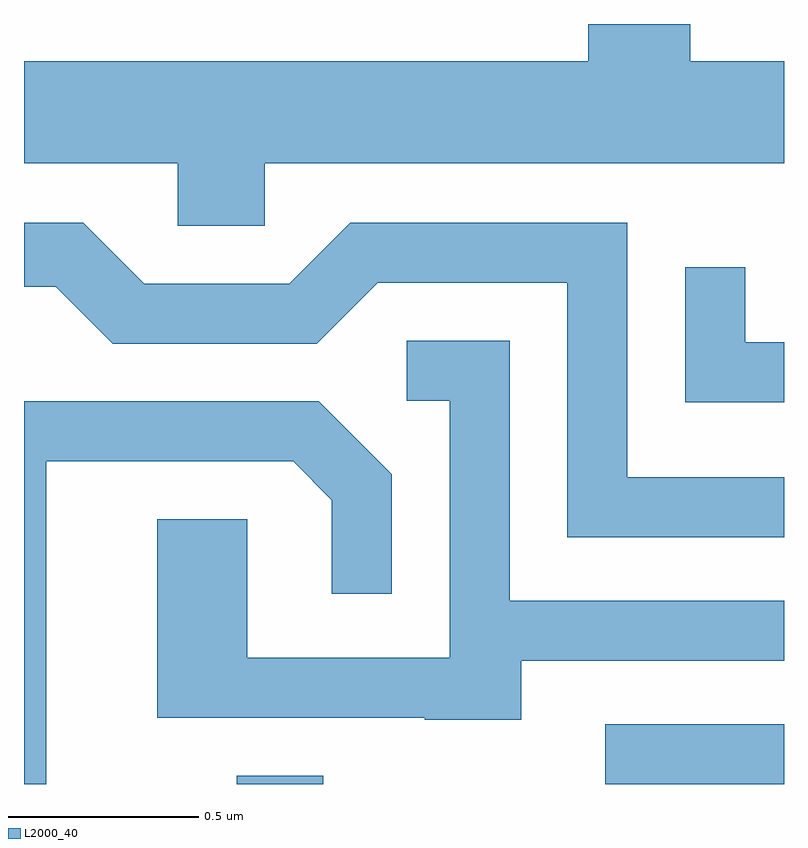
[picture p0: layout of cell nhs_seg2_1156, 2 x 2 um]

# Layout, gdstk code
import gdstk
lib = gdstk.Library(unit=1e-6, precision=1e-09)
def R(c, l, rs):  # rectangles x0, y0, x1, y1
    for r in rs: c.add(gdstk.rectangle(r[:2], r[2:], *l))
def P(c, l, *ps):  # polygons
    for p in ps: c.add(gdstk.Polygon(p, *l))
L2000_40 = (2000, 40)

nhs_seg2_1156 = lib.new_cell('nhs_seg2_1156')
R(nhs_seg2_1156, L2000_40, [(194.171,1037.802,194.399,1037.824), (195.141,1037.802,195.611,1037.959)])
P(nhs_seg2_1156, L2000_40, [(194.244,1039.436),(195.611,1039.436),(195.611,1039.704),(195.364,1039.704),(195.364,1039.802),(195.096,1039.802),(195.096,1039.704),(193.611,1039.704),(193.611,1039.436),(194.016,1039.436),(194.016,1039.271),(194.244,1039.271)],
  [(195.611,1038.609),(195.199,1038.609),(195.199,1039.279),(194.469,1039.279),(194.309,1039.119),(193.927,1039.119),(193.767,1039.279),(193.611,1039.279),(193.611,1039.111),(193.694,1039.111),(193.844,1038.961),(194.382,1038.961),(194.542,1039.121),(195.041,1039.121),(195.041,1038.451),(195.611,1038.451)],
  [(195.611,1038.964),(195.509,1038.964),(195.509,1039.162),(195.351,1039.162),(195.351,1038.806),(195.611,1038.806)],
  [(194.919,1038.126),(195.611,1038.126),(195.611,1038.284),(194.889,1038.284),(194.889,1038.969),(194.618,1038.969),(194.618,1038.811),(194.731,1038.811),(194.731,1038.134),(194.199,1038.134),(194.199,1038.499),(193.961,1038.499),(193.961,1037.976),(194.665,1037.976),(194.665,1037.971),(194.919,1037.971)],
  [(193.669,1038.651),(194.319,1038.651),(194.421,1038.549),(194.421,1038.303),(194.579,1038.303),(194.579,1038.617),(194.387,1038.809),(193.611,1038.809),(193.611,1037.802),(193.669,1037.802)])

lib.write_gds('nhs_seg2_1156.gds')
